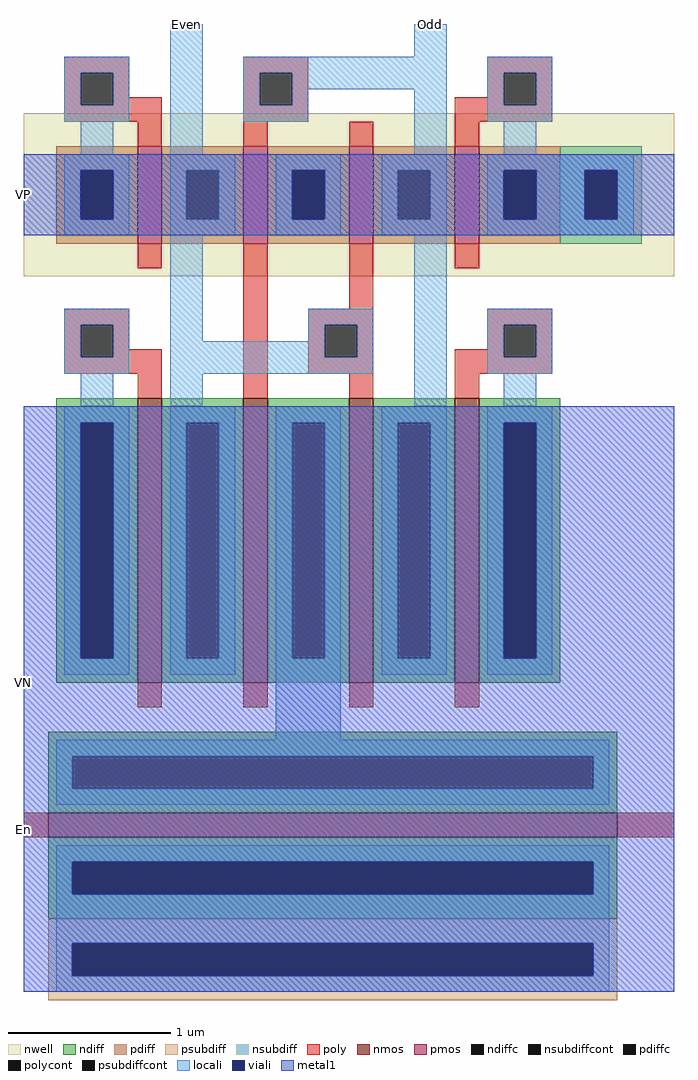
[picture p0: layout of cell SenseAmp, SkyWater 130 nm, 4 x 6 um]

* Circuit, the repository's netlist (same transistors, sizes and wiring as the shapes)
**.subckt SenseAmp Odd En VN VP Even
*.iopin Odd
*.ipin En
*.iopin VN
*.iopin VP
*.iopin Even
XM1 net1 Odd Even VN sky130_fd_pr__nfet_01v8 L=0.15 W=1.75 nf=1 ad='int((nf+1)/2) * W/nf * 0.29' as='int((nf+2)/2) * W/nf * 0.29'
+ pd='2*int((nf+1)/2) * (W/nf + 0.29)' ps='2*int((nf+2)/2) * (W/nf + 0.29)' nrd='0.29 / W' nrs='0.29 / W'
+ sa=0 sb=0 sd=0 mult=1 m=1 
XM2 Even Odd VP VP sky130_fd_pr__pfet_01v8 L=0.15 W=.6 nf=1 ad='int((nf+1)/2) * W/nf * 0.29' as='int((nf+2)/2) * W/nf * 0.29'
+ pd='2*int((nf+1)/2) * (W/nf + 0.29)' ps='2*int((nf+2)/2) * (W/nf + 0.29)' nrd='0.29 / W' nrs='0.29 / W'
+ sa=0 sb=0 sd=0 mult=1 m=1 
XM3 Odd Even VP VP sky130_fd_pr__pfet_01v8 L=0.15 W=0.6 nf=1 ad='int((nf+1)/2) * W/nf * 0.29' as='int((nf+2)/2) * W/nf * 0.29'
+ pd='2*int((nf+1)/2) * (W/nf + 0.29)' ps='2*int((nf+2)/2) * (W/nf + 0.29)' nrd='0.29 / W' nrs='0.29 / W'
+ sa=0 sb=0 sd=0 mult=1 m=1 
XM4 Odd Even net1 VN sky130_fd_pr__nfet_01v8 L=0.15 W=1.75 nf=1 ad='int((nf+1)/2) * W/nf * 0.29' as='int((nf+2)/2) * W/nf * 0.29'
+ pd='2*int((nf+1)/2) * (W/nf + 0.29)' ps='2*int((nf+2)/2) * (W/nf + 0.29)' nrd='0.29 / W' nrs='0.29 / W'
+ sa=0 sb=0 sd=0 mult=1 m=1 
XM5 VN En net1 VN sky130_fd_pr__nfet_01v8 L=0.15 W=3.5 nf=1 ad='int((nf+1)/2) * W/nf * 0.29' as='int((nf+2)/2) * W/nf * 0.29'
+ pd='2*int((nf+1)/2) * (W/nf + 0.29)' ps='2*int((nf+2)/2) * (W/nf + 0.29)' nrd='0.29 / W' nrs='0.29 / W'
+ sa=0 sb=0 sd=0 mult=1 m=1 
XM6 Odd VP VP VP sky130_fd_pr__pfet_01v8 L=0.15 W=0.6 nf=1 ad='int((nf+1)/2) * W/nf * 0.29' as='int((nf+2)/2) * W/nf * 0.29'
+ pd='2*int((nf+1)/2) * (W/nf + 0.29)' ps='2*int((nf+2)/2) * (W/nf + 0.29)' nrd='0.29 / W' nrs='0.29 / W'
+ sa=0 sb=0 sd=0 mult=1 m=1 
XM7 Even VP VP VP sky130_fd_pr__pfet_01v8 L=0.15 W=0.6 nf=1 ad='int((nf+1)/2) * W/nf * 0.29' as='int((nf+2)/2) * W/nf * 0.29'
+ pd='2*int((nf+1)/2) * (W/nf + 0.29)' ps='2*int((nf+2)/2) * (W/nf + 0.29)' nrd='0.29 / W' nrs='0.29 / W'
+ sa=0 sb=0 sd=0 mult=1 m=1 
XM8 Odd VN VN VN sky130_fd_pr__nfet_01v8 L=0.15 W=1.75 nf=1 ad='int((nf+1)/2) * W/nf * 0.29' as='int((nf+2)/2) * W/nf * 0.29'
+ pd='2*int((nf+1)/2) * (W/nf + 0.29)' ps='2*int((nf+2)/2) * (W/nf + 0.29)' nrd='0.29 / W' nrs='0.29 / W'
+ sa=0 sb=0 sd=0 mult=1 m=1 
XM9 VN VN Even VN sky130_fd_pr__nfet_01v8 L=0.15 W=1.75 nf=1 ad='int((nf+1)/2) * W/nf * 0.29' as='int((nf+2)/2) * W/nf * 0.29'
+ pd='2*int((nf+1)/2) * (W/nf + 0.29)' ps='2*int((nf+2)/2) * (W/nf + 0.29)' nrd='0.29 / W' nrs='0.29 / W'
+ sa=0 sb=0 sd=0 mult=1 m=1 
**.ends
** flattened .save nodes
.end

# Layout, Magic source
magic
tech sky130A
<< nwell >>
rect -100 435 300 535
<< nmos >>
rect -30 185 -15 360
rect 35 185 50 360
rect 100 185 115 360
rect 165 185 180 360
rect -85 90 265 105
<< pmos >>
rect -30 455 -15 515
rect 35 455 50 515
rect 100 455 115 515
rect 165 455 180 515
<< ndiff >>
rect -80 345 -30 360
rect -80 200 -65 345
rect -45 200 -30 345
rect -80 185 -30 200
rect -15 345 35 360
rect -15 200 0 345
rect 20 200 35 345
rect -15 185 35 200
rect 50 345 100 360
rect 50 200 65 345
rect 85 200 100 345
rect 50 185 100 200
rect 115 345 165 360
rect 115 200 130 345
rect 150 200 165 345
rect 115 185 165 200
rect 180 345 230 360
rect 180 200 195 345
rect 215 200 230 345
rect 180 185 230 200
rect -85 140 265 155
rect -85 120 -70 140
rect 250 120 265 140
rect -85 105 265 120
rect -85 75 265 90
rect -85 55 -70 75
rect 250 55 265 75
rect -85 40 265 55
<< pdiff >>
rect -80 500 -30 515
rect -80 470 -65 500
rect -45 470 -30 500
rect -80 455 -30 470
rect -15 500 35 515
rect -15 470 0 500
rect 20 470 35 500
rect -15 455 35 470
rect 50 500 100 515
rect 50 470 65 500
rect 85 470 100 500
rect 50 455 100 470
rect 115 500 165 515
rect 115 470 130 500
rect 150 470 165 500
rect 115 455 165 470
rect 180 500 230 515
rect 180 470 195 500
rect 215 470 230 500
rect 180 455 230 470
<< ndiffc >>
rect -65 200 -45 345
rect 0 200 20 345
rect 65 200 85 345
rect 130 200 150 345
rect 195 200 215 345
rect -70 120 250 140
rect -70 55 250 75
<< pdiffc >>
rect -65 470 -45 500
rect 0 470 20 500
rect 65 470 85 500
rect 130 470 150 500
rect 195 470 215 500
<< psubdiff >>
rect -85 25 265 40
rect -85 5 -70 25
rect 250 5 265 25
rect -85 -10 265 5
<< nsubdiff >>
rect 230 500 280 515
rect 230 470 245 500
rect 265 470 280 500
rect 230 455 280 470
<< psubdiffcont >>
rect -70 5 250 25
<< nsubdiffcont >>
rect 245 470 265 500
<< poly >>
rect -75 560 -35 570
rect -75 540 -65 560
rect -45 545 -35 560
rect 35 560 75 570
rect -45 540 -15 545
rect -75 530 -15 540
rect -30 515 -15 530
rect 35 540 45 560
rect 65 540 75 560
rect 185 560 225 570
rect 185 545 195 560
rect 35 530 75 540
rect 165 540 195 545
rect 215 540 225 560
rect 165 530 225 540
rect 35 515 50 530
rect 100 515 115 530
rect 165 515 180 530
rect -30 440 -15 455
rect -75 405 -35 415
rect -75 385 -65 405
rect -45 390 -35 405
rect -45 385 -15 390
rect -75 375 -15 385
rect -30 360 -15 375
rect 35 360 50 455
rect 100 415 115 455
rect 165 440 180 455
rect 75 405 115 415
rect 75 385 85 405
rect 105 385 115 405
rect 185 405 225 415
rect 185 390 195 405
rect 75 375 115 385
rect 100 360 115 375
rect 165 385 195 390
rect 215 385 225 405
rect 165 375 225 385
rect 165 360 180 375
rect -30 170 -15 185
rect 35 170 50 185
rect 100 170 115 185
rect 165 170 180 185
rect -100 90 -85 105
rect 265 90 300 105
<< polycont >>
rect -65 540 -45 560
rect 45 540 65 560
rect 195 540 215 560
rect -65 385 -45 405
rect 85 385 105 405
rect 195 385 215 405
<< locali >>
rect -75 560 -35 570
rect -75 540 -65 560
rect -45 540 -35 560
rect -75 530 -35 540
rect -65 510 -45 530
rect -10 510 10 590
rect 140 570 160 590
rect 35 560 160 570
rect 35 540 45 560
rect 65 550 160 560
rect 65 540 75 550
rect 35 530 75 540
rect 140 510 160 550
rect 185 560 225 570
rect 185 540 195 560
rect 215 540 225 560
rect 185 530 225 540
rect 195 510 215 530
rect -75 500 -35 510
rect -75 470 -65 500
rect -45 470 -35 500
rect -75 460 -35 470
rect -10 500 30 510
rect -10 470 0 500
rect 20 470 30 500
rect -10 460 30 470
rect 55 500 95 510
rect 55 470 65 500
rect 85 470 95 500
rect 55 460 95 470
rect 120 500 160 510
rect 120 470 130 500
rect 150 470 160 500
rect 120 460 160 470
rect 185 500 275 510
rect 185 470 195 500
rect 215 470 245 500
rect 265 470 275 500
rect 185 460 275 470
rect -75 405 -35 415
rect -75 385 -65 405
rect -45 385 -35 405
rect -75 375 -35 385
rect -10 395 10 460
rect 75 405 115 415
rect 75 395 85 405
rect -10 385 85 395
rect 105 385 115 405
rect -10 375 115 385
rect -65 355 -45 375
rect -10 355 10 375
rect 140 355 160 460
rect 185 405 225 415
rect 185 385 195 405
rect 215 385 225 405
rect 185 375 225 385
rect 195 355 215 375
rect -75 345 -35 355
rect -75 200 -65 345
rect -45 200 -35 345
rect -75 190 -35 200
rect -10 345 30 355
rect -10 200 0 345
rect 20 200 30 345
rect -10 190 30 200
rect 55 345 95 355
rect 55 200 65 345
rect 85 200 95 345
rect 55 150 95 200
rect 120 345 160 355
rect 120 200 130 345
rect 150 200 160 345
rect 120 190 160 200
rect 185 345 225 355
rect 185 200 195 345
rect 215 200 225 345
rect 185 190 225 200
rect -80 140 260 150
rect -80 120 -70 140
rect 250 120 260 140
rect -80 110 260 120
rect -80 75 260 85
rect -80 55 -70 75
rect 250 55 260 75
rect -80 25 260 55
rect -80 5 -70 25
rect 250 5 260 25
rect -80 -5 260 5
<< viali >>
rect -65 470 -45 500
rect 65 470 85 500
rect 195 470 215 500
rect 245 470 265 500
rect -65 200 -45 345
rect 195 200 215 345
rect -70 55 250 75
rect -70 5 250 25
<< metal1 >>
rect -100 500 300 510
rect -100 470 -65 500
rect -45 470 65 500
rect 85 470 195 500
rect 215 470 245 500
rect 265 470 300 500
rect -100 460 300 470
rect -100 345 300 355
rect -100 200 -65 345
rect -45 200 195 345
rect 215 200 300 345
rect -100 75 300 200
rect -100 55 -70 75
rect 250 55 300 75
rect -100 25 300 55
rect -100 5 -70 25
rect 250 5 300 25
rect -100 -5 300 5
<< labels >>
rlabel metal1 -100 185 -100 185 7 VN
rlabel locali 150 590 150 590 1 Odd
rlabel locali 0 590 0 590 1 Even
rlabel metal1 -100 485 -100 485 7 VP
rlabel poly -100 95 -100 95 7 En
<< end >>
